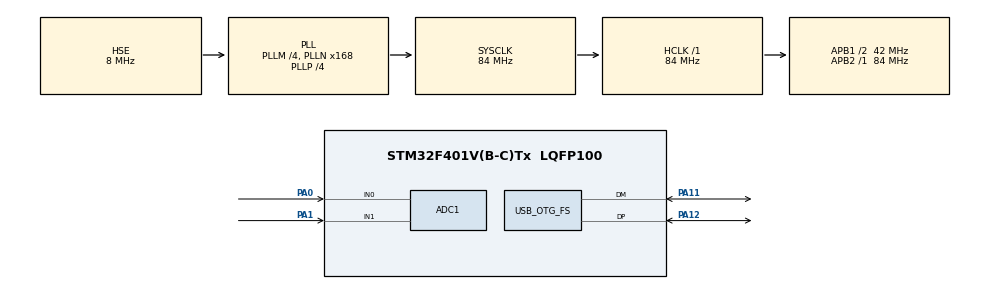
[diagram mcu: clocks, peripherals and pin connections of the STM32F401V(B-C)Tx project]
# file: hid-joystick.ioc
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ADC1.Channel-0\#ChannelRegularConversion=ADC_CHANNEL_0
ADC1.Channel-3\#ChannelRegularConversion=ADC_CHANNEL_0
ADC1.ContinuousConvMode=ENABLE
ADC1.InjNumberOfConversion=0
ADC1.NbrOfConversion=2
ADC1.NbrOfConversionFlag=1
ADC1.Rank-0\#ChannelRegularConversion=1
ADC1.Rank-3\#ChannelRegularConversion=2
ADC1.SamplingTime-0\#ChannelRegularConversion=ADC_SAMPLETIME_3CYCLES
ADC1.SamplingTime-3\#ChannelRegularConversion=ADC_SAMPLETIME_3CYCLES
ADC1.ScanConvMode=ENABLE
ADC1.master=1
Mcu.Family=STM32F4
Mcu.Name=STM32F401V(B-C)Tx
Mcu.Package=LQFP100
NVIC.OTG_FS_IRQn=true\:0\:0\:false\:false\:true\:false\:true\:true
NVIC.PriorityGroup=NVIC_PRIORITYGROUP_0
PA0-WKUP.Signal=ADCx_IN0
PA1.Signal=ADCx_IN1
PA11.Mode=Device_Only
PA11.Signal=USB_OTG_FS_DM
PA12.Mode=Device_Only
PA12.Signal=USB_OTG_FS_DP
PH0\ -\ OSC_IN.Mode=HSE-External-Oscillator
PH0\ -\ OSC_IN.Signal=RCC_OSC_IN
PH1\ -\ OSC_OUT.Mode=HSE-External-Oscillator
PH1\ -\ OSC_OUT.Signal=RCC_OSC_OUT
ProjectManager.HeapSize=0x200
ProjectManager.StackSize=0x400
ProjectManager.TargetToolchain=Makefile
RCC.48MHZClocksFreq_Value=48000000
RCC.AHBFreq_Value=84000000
RCC.APB1CLKDivider=RCC_HCLK_DIV2
RCC.APB1Freq_Value=42000000
RCC.APB1TimFreq_Value=84000000
RCC.APB2Freq_Value=84000000
RCC.APB2TimFreq_Value=84000000
RCC.CortexFreq_Value=84000000
RCC.HCLKFreq_Value=84000000
RCC.HSE_VALUE=8000000
RCC.HSI_VALUE=16000000
RCC.LSE_VALUE=32768
RCC.PLLM=4
RCC.PLLN=168
RCC.PLLP=RCC_PLLP_DIV4
RCC.PLLQ=7
RCC.SYSCLKFreq_VALUE=84000000
RCC.SYSCLKSource=RCC_SYSCLKSOURCE_PLLCLK
RCC.VCOOutputFreq_Value=336000000
SH.ADCx_IN0.0=ADC1_IN0,IN0
SH.ADCx_IN1.0=ADC1_IN1,IN1
USB_DEVICE.CLASS_NAME_FS=CUSTOM_HID
USB_DEVICE.USBD_CUSTOMHID_OUTREPORT_BUF_SIZE=24
USB_DEVICE.USBD_CUSTOM_HID_REPORT_DESC_SIZE=36
USB_DEVICE.VirtualMode=CustomHid
USB_DEVICE.VirtualModeFS=Custom_Hid_FS
USB_OTG_FS.VirtualMode=Device_Only
VP_USB_DEVICE_VS_USB_DEVICE_CUSTOM_HID_FS.Mode=CUSTOM_HID_FS
board=STM32F401C-DISCO

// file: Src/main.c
/* USER CODE BEGIN Header */
/**
  ******************************************************************************
  * @file           : main.c
  * @brief          : Main program body
  ******************************************************************************
  * @attention
  *
  * Copyright (c) 2024 STMicroelectronics.
  * All rights reserved.
  *
  * This software is licensed under terms that can be found in the LICENSE file
  * in the root directory of this software component.
  * If no LICENSE file comes with this software, it is provided AS-IS.
  *
  ******************************************************************************
  */
/* USER CODE END Header */
#include "main.h"
#include "adc.h"
#include "usb_device.h"
#include "gpio.h"

/* USER CODE BEGIN Includes */
#include "stm32f4xx_hal.h"
#include "usbd_customhid.h"
#include <stdint.h>
/* USER CODE END Includes */

/* USER CODE BEGIN PV */
extern USBD_HandleTypeDef hUsbDeviceFS;
/* USER CODE END PV */

void SystemClock_Config(void);

int main(void)
{

  /* MCU Configuration--------------------------------------------------------*/

  /* Reset of all peripherals, Initializes the Flash interface and the Systick. */
  HAL_Init();

  /* Configure the system clock */
  SystemClock_Config();

  /* Initialize all configured peripherals */
  MX_GPIO_Init();
  MX_USB_DEVICE_Init();
  MX_ADC1_Init();
  /* USER CODE BEGIN 2 */
  uint16_t y_value;
  uint16_t x_value;
  uint8_t joystick_buffer[3];
  joystick_buffer[0] = 0x00;
  joystick_buffer[1] = 0xFF;
  joystick_buffer[2] = 0xFF;
  /* USER CODE END 2 */

  /* Infinite loop */
  /* USER CODE BEGIN WHILE */
  while (1)
  {
    x_value = read_adc_channel_1();
    y_value = read_adc_channel_2();

    joystick_buffer[0] = (uint8_t)((x_value >> 4)&(0xFF));
    joystick_buffer[1] = (uint8_t)((x_value << 4)|(y_value >> 8));
    joystick_buffer[2] = (uint8_t)((y_value)&(0xFF));
    //joystick_buffer[0] = x_value;
    //joystick_buffer[1] = y_value;

    USBD_CUSTOM_HID_SendReport(&hUsbDeviceFS, joystick_buffer, 2);
    HAL_Delay(100);
    /* USER CODE END WHILE */

  }
}

void SystemClock_Config(void)
{
  RCC_OscInitTypeDef RCC_OscInitStruct = {0};
  RCC_ClkInitTypeDef RCC_ClkInitStruct = {0};

  /** Configure the main internal regulator output voltage
  */
  __HAL_RCC_PWR_CLK_ENABLE();
  __HAL_PWR_VOLTAGESCALING_CONFIG(PWR_REGULATOR_VOLTAGE_SCALE2);

  /** Initializes the RCC Oscillators according to the specified parameters
  * in the RCC_OscInitTypeDef structure.
  */
  RCC_OscInitStruct.OscillatorType = RCC_OSCILLATORTYPE_HSE;
  RCC_OscInitStruct.HSEState = RCC_HSE_ON;
  RCC_OscInitStruct.PLL.PLLState = RCC_PLL_ON;
  RCC_OscInitStruct.PLL.PLLSource = RCC_PLLSOURCE_HSE;
  RCC_OscInitStruct.PLL.PLLM = 4;
  RCC_OscInitStruct.PLL.PLLN = 168;
  RCC_OscInitStruct.PLL.PLLP = RCC_PLLP_DIV4;
  RCC_OscInitStruct.PLL.PLLQ = 7;
  if (HAL_RCC_OscConfig(&RCC_OscInitStruct) != HAL_OK)
  {
    Error_Handler();
  }

  /** Initializes the CPU, AHB and APB buses clocks
  */
  RCC_ClkInitStruct.ClockType = RCC_CLOCKTYPE_HCLK|RCC_CLOCKTYPE_SYSCLK
                              |RCC_CLOCKTYPE_PCLK1|RCC_CLOCKTYPE_PCLK2;
  RCC_ClkInitStruct.SYSCLKSource = RCC_SYSCLKSOURCE_PLLCLK;
  RCC_ClkInitStruct.AHBCLKDivider = RCC_SYSCLK_DIV1;
  RCC_ClkInitStruct.APB1CLKDivider = RCC_HCLK_DIV2;
  RCC_ClkInitStruct.APB2CLKDivider = RCC_HCLK_DIV1;

  if (HAL_RCC_ClockConfig(&RCC_ClkInitStruct, FLASH_LATENCY_2) != HAL_OK)
  {
    Error_Handler();
  }
}

void Error_Handler(void)
{
  __disable_irq();
  while (1)
  {
  }
}
